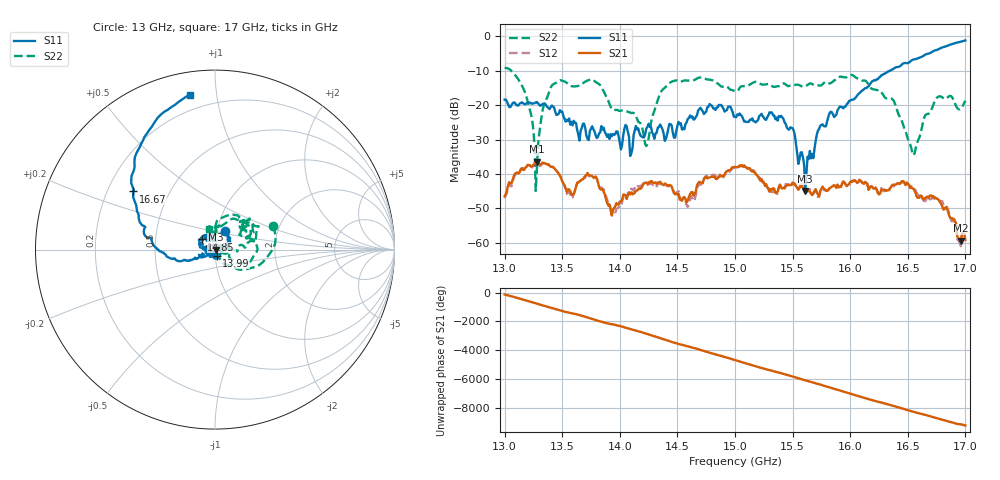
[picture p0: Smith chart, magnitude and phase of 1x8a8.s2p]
!Keysight Technologies,P9374A,MY57211807,A.19.30.04
!Date: Friday, May 08, 2026 14:10:27
!Correction: S11(C  2-Port  )
!S21(C  2-Port  )
!S12(C  2-Port  )
!S22(C  2-Port  )
!S2P File: Measurements: S11, S21, S12, S22:
# Hz S  dB  R 50
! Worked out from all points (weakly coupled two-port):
!   401 points, 13 GHz to 17 GHz, reference 50 ohm
!   highest |S21| = -36.48 dB at 13.28 GHz (marker M1); lowest = -59.4 dB at 16.96 GHz (marker M2)
!   lowest |S11| = -45.0 dB at 15.61 GHz (marker M3), VSWR 1.01, Z = 50.6 - j0.0852 ohm
!   |S11| at or under -10 dB: start of sweep to 16.34 GHz
!   |S22| runs from -45.0 to -9.1 dB; largest |S21 - S12| = 0.0014
!   S11 on the Smith chart (normalised r, x): 13 GHz: 1.10, +0.23; 13.99 GHz: 1.02, -0.07; 14.85 GHz: 0.86, +0.10; 16.67 GHz: 0.31, +0.29; 17 GHz: 0.12, +0.84
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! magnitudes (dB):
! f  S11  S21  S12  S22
! 13 GHz  -18.4  -46.5  -47.1  -9.1
! 13.18 GHz  -19.8  -38.2  -38.1  -16.6
! 13.28 GHz  -19.1  -36.5  -37.1  -38.6
! 13.33 GHz  -19.6  -36.7  -36.9  -21.5
! 13.41 GHz  -20.1  -38.0  -37.8  -14.3
! 13.57 GHz  -25.7  -45.0  -45.7  -14.3
! 13.67 GHz  -26.6  -41.6  -41.8  -14.0
! 13.99 GHz  -29.1  -48.9  -49.8  -21.6
! 14.23 GHz  -26.8  -42.5  -43.0  -31.9
! 14.34 GHz  -26.4  -42.4  -42.8  -17.5
! 14.59 GHz  -24.0  -47.8  -49.6  -12.9
! 14.85 GHz  -20.6  -41.2  -40.8  -13.7
! 15 GHz  -23.4  -38.0  -38.0  -16.0
! 15.4 GHz  -23.1  -44.0  -43.6  -14.1
! 15.61 GHz  -45.0  -45.4  -44.7  -14.5
! 15.67 GHz  -34.2  -46.2  -45.9  -13.8
! 15.83 GHz  -21.9  -44.0  -44.4  -13.6
! 16.34 GHz  -10.1  -44.4  -44.9  -18.0
! 16.55 GHz  -6.7  -44.3  -43.7  -34.6
! 16.67 GHz  -5.0  -46.6  -47.0  -22.5
! 16.96 GHz  -1.6  -59.4  -61.0  -21.0
! 17 GHz  -1.2  -59.2  -58.5  -18.7
